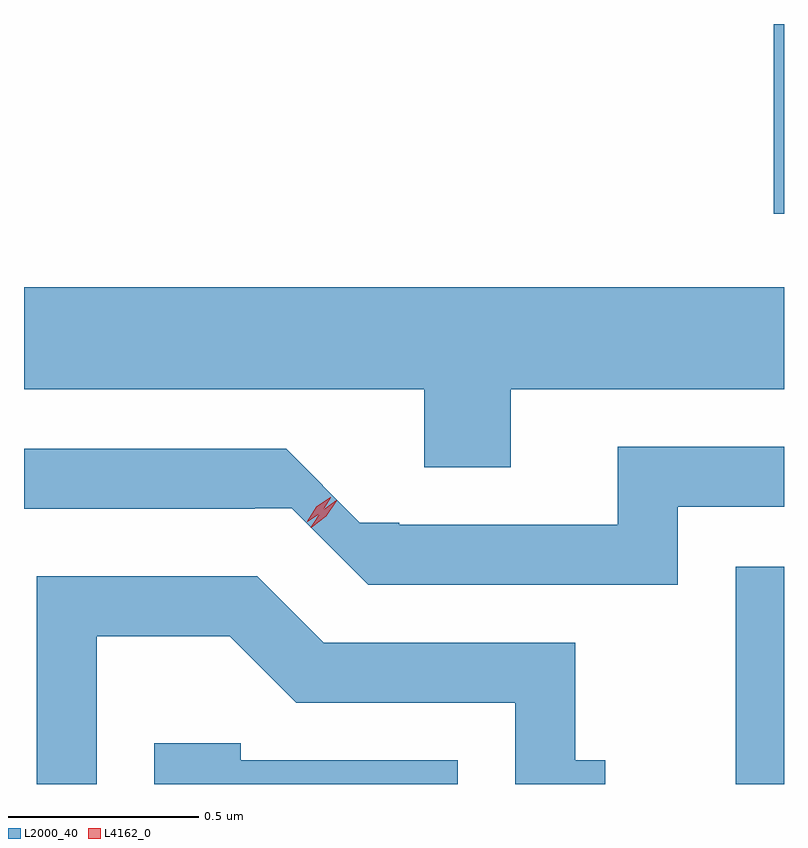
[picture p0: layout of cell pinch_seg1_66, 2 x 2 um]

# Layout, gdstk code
import gdstk
lib = gdstk.Library(unit=1e-6, precision=1e-09)
def R(c, l, rs):  # rectangles x0, y0, x1, y1
    for r in rs: c.add(gdstk.rectangle(r[:2], r[2:], *l))
def P(c, l, *ps):  # polygons
    for p in ps: c.add(gdstk.Polygon(p, *l))
L2000_40 = (2000, 40)
L4162_0 = (4162, 0)

pinch_seg1_66 = lib.new_cell('pinch_seg1_66')
R(pinch_seg1_66, L2000_40, [(1407.761,858.577,1407.888,859.149), (1407.861,860.078,1407.888,860.577)])
P(pinch_seg1_66, L2000_40, [(1407.169,859.616),(1407.888,859.616),(1407.888,859.884),(1405.888,859.884),(1405.888,859.616),(1406.941,859.616),(1406.941,859.411),(1407.169,859.411)],
  [(1407.609,859.306),(1407.888,859.306),(1407.888,859.464),(1407.451,859.464),(1407.451,859.259),(1406.876,859.259),(1406.876,859.265),(1406.772,859.265),(1406.578,859.459),(1405.888,859.459),(1405.888,859.301),(1406.495,859.301),(1406.495,859.303),(1406.592,859.303),(1406.794,859.101),(1407.609,859.101)],
  [(1406.079,858.966),(1406.429,858.966),(1406.604,858.791),(1407.181,858.791),(1407.181,858.577),(1407.418,858.577),(1407.418,858.639),(1407.339,858.639),(1407.339,858.949),(1406.677,858.949),(1406.502,859.124),(1405.921,859.124),(1405.921,858.577),(1406.079,858.577)],
  [(1407.029,858.639),(1406.459,858.639),(1406.459,858.684),(1406.231,858.684),(1406.231,858.577),(1407.029,858.577)])
P(pinch_seg1_66, L4162_0, [(1406.634,859.267),(1406.634,859.268),(1406.657,859.306),(1406.694,859.331),(1406.695,859.331),(1406.695,859.33),(1406.672,859.292),(1406.635,859.267)],
  [(1406.643,859.252),(1406.643,859.253),(1406.67,859.295),(1406.71,859.324),(1406.711,859.324),(1406.711,859.323),(1406.684,859.281),(1406.644,859.252)])

lib.write_gds('pinch_seg1_66.gds')
